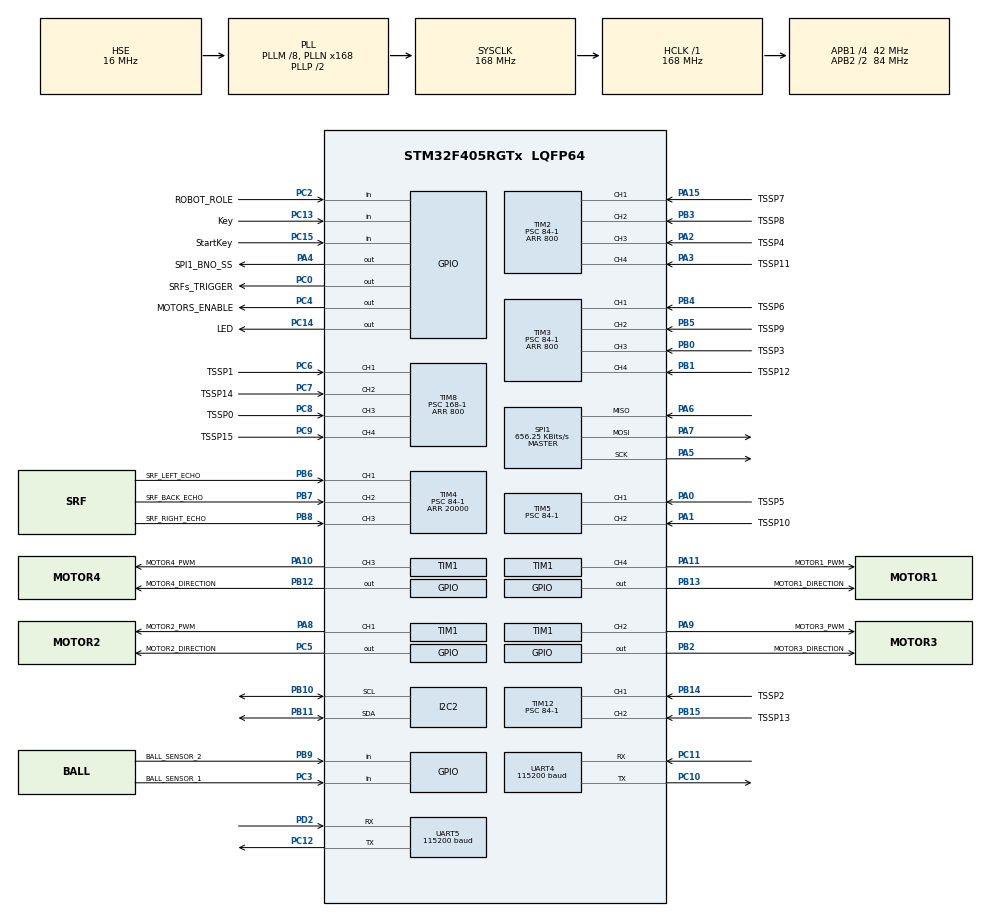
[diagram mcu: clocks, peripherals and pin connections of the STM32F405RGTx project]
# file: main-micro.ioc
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Dma.Request0=UART5_RX
Dma.Request1=UART4_TX
Dma.UART4_TX.1.Direction=DMA_MEMORY_TO_PERIPH
Dma.UART4_TX.1.FIFOMode=DMA_FIFOMODE_DISABLE
Dma.UART4_TX.1.Instance=DMA1_Stream4
Dma.UART4_TX.1.MemDataAlignment=DMA_MDATAALIGN_BYTE
Dma.UART4_TX.1.MemInc=DMA_MINC_ENABLE
Dma.UART4_TX.1.Mode=DMA_NORMAL
Dma.UART4_TX.1.PeriphDataAlignment=DMA_PDATAALIGN_BYTE
Dma.UART4_TX.1.PeriphInc=DMA_PINC_DISABLE
Dma.UART4_TX.1.Priority=DMA_PRIORITY_LOW
Dma.UART5_RX.0.Direction=DMA_PERIPH_TO_MEMORY
Dma.UART5_RX.0.FIFOMode=DMA_FIFOMODE_DISABLE
Dma.UART5_RX.0.Instance=DMA1_Stream0
Dma.UART5_RX.0.MemDataAlignment=DMA_MDATAALIGN_BYTE
Dma.UART5_RX.0.MemInc=DMA_MINC_ENABLE
Dma.UART5_RX.0.Mode=DMA_CIRCULAR
Dma.UART5_RX.0.PeriphDataAlignment=DMA_PDATAALIGN_BYTE
Dma.UART5_RX.0.PeriphInc=DMA_PINC_DISABLE
Dma.UART5_RX.0.Priority=DMA_PRIORITY_LOW
I2C2.I2C_Mode=I2C_Standard
Mcu.Family=STM32F4
Mcu.Name=STM32F405RGTx
Mcu.Package=LQFP64
NVIC.DMA1_Stream0_IRQn=true\:0\:0\:false\:false\:true\:false\:true\:true
NVIC.DMA1_Stream4_IRQn=true\:0\:0\:false\:false\:true\:false\:true\:true
NVIC.PriorityGroup=NVIC_PRIORITYGROUP_4
NVIC.TIM2_IRQn=true\:0\:0\:false\:false\:true\:true\:true\:true
NVIC.TIM3_IRQn=true\:0\:0\:false\:false\:true\:true\:true\:true
NVIC.TIM4_IRQn=true\:0\:0\:false\:false\:true\:true\:true\:true
NVIC.TIM5_IRQn=true\:0\:0\:false\:false\:true\:true\:true\:true
NVIC.TIM7_IRQn=true\:0\:0\:false\:false\:true\:true\:true\:true
NVIC.TIM8_BRK_TIM12_IRQn=true\:0\:0\:false\:false\:true\:true\:true\:true
NVIC.TIM8_CC_IRQn=true\:0\:0\:false\:false\:true\:true\:true\:true
NVIC.TIM8_UP_TIM13_IRQn=true\:0\:0\:false\:false\:true\:true\:true\:true
NVIC.UART4_IRQn=true\:0\:0\:false\:false\:true\:true\:true\:true
NVIC.UART5_IRQn=true\:0\:0\:false\:false\:true\:true\:true\:true
PA0-WKUP.GPIO_Label=TSSP5
PA0-WKUP.Signal=S_TIM5_CH1
PA1.GPIO_Label=TSSP10
PA1.Signal=S_TIM5_CH2
PA10.GPIO_Label=MOTOR4_PWM
PA10.Signal=S_TIM1_CH3
PA11.GPIO_Label=MOTOR1_PWM
PA11.Signal=S_TIM1_CH4
PA13.Mode=Serial_Wire
PA13.Signal=SYS_JTMS-SWDIO
PA14.Mode=Serial_Wire
PA14.Signal=SYS_JTCK-SWCLK
PA15.GPIO_Label=TSSP7
PA15.Signal=S_TIM2_CH1_ETR
PA2.GPIO_Label=TSSP4
PA2.Signal=S_TIM2_CH3
PA3.GPIO_Label=TSSP11
PA3.Signal=S_TIM2_CH4
PA4.GPIO_Label=SPI1_BNO_SS
PA4.Signal=GPIO_Output
PA5.Mode=Full_Duplex_Master
PA5.Signal=SPI1_SCK
PA6.Mode=Full_Duplex_Master
PA6.Signal=SPI1_MISO
PA7.Mode=Full_Duplex_Master
PA7.Signal=SPI1_MOSI
PA8.GPIO_Label=MOTOR2_PWM
PA8.Signal=S_TIM1_CH1
PA9.GPIO_Label=MOTOR3_PWM
PA9.Signal=S_TIM1_CH2
PB0.GPIO_Label=TSSP3
PB0.Signal=S_TIM3_CH3
PB1.GPIO_Label=TSSP12
PB1.Signal=S_TIM3_CH4
PB10.Mode=I2C
PB10.Signal=I2C2_SCL
PB11.Mode=I2C
PB11.Signal=I2C2_SDA
PB12.GPIO_Label=MOTOR4_DIRECTION
PB12.Signal=GPIO_Output
PB13.GPIO_Label=MOTOR1_DIRECTION
PB13.Signal=GPIO_Output
PB14.GPIO_Label=TSSP2
PB14.Signal=S_TIM12_CH1
PB15.GPIO_Label=TSSP13
PB15.Signal=S_TIM12_CH2
PB2.GPIO_Label=MOTOR3_DIRECTION
PB2.Signal=GPIO_Output
PB3.GPIO_Label=TSSP8
PB3.Signal=S_TIM2_CH2
PB4.GPIO_Label=TSSP6
PB4.Signal=S_TIM3_CH1
PB5.GPIO_Label=TSSP9
PB5.Signal=S_TIM3_CH2
PB6.GPIO_Label=SRF_LEFT_ECHO
PB6.Signal=S_TIM4_CH1
PB7.GPIO_Label=SRF_BACK_ECHO
PB7.Signal=S_TIM4_CH2
PB8.GPIO_Label=SRF_RIGHT_ECHO
PB8.Signal=S_TIM4_CH3
PB9.GPIO_Label=BALL_SENSOR_2
PB9.GPIO_PuPd=GPIO_PULLDOWN
PB9.Signal=GPIO_Input
PC0.GPIO_Label=SRFs_TRIGGER
PC0.Signal=GPIO_Output
PC10.Mode=Asynchronous
PC10.Signal=UART4_TX
PC11.Mode=Asynchronous
PC11.Signal=UART4_RX
PC12.Mode=Asynchronous
PC12.Signal=UART5_TX
PC13-ANTI_TAMP.GPIO_Label=Key
PC13-ANTI_TAMP.Signal=GPIO_Input
PC14-OSC32_IN.GPIO_Label=LED
PC14-OSC32_IN.Signal=GPIO_Output
PC15-OSC32_OUT.GPIO_Label=StartKey
PC15-OSC32_OUT.Signal=GPIO_Input
PC2.GPIO_Label=ROBOT_ROLE
PC2.Signal=GPIO_Input
PC3.GPIO_Label=BALL_SENSOR_1
PC3.GPIO_PuPd=GPIO_PULLDOWN
PC3.Signal=GPIO_Input
PC4.GPIO_Label=MOTORS_ENABLE
PC4.Signal=GPIO_Output
PC5.GPIO_Label=MOTOR2_DIRECTION
PC5.Signal=GPIO_Output
PC6.GPIO_Label=TSSP1
PC6.Signal=S_TIM8_CH1
PC7.GPIO_Label=TSSP14
PC7.Signal=S_TIM8_CH2
PC8.GPIO_Label=TSSP0
PC8.Signal=S_TIM8_CH3
PC9.GPIO_Label=TSSP15
PC9.Signal=S_TIM8_CH4
PD2.Mode=Asynchronous
PD2.Signal=UART5_RX
PH0-OSC_IN.Mode=HSE-External-Oscillator
PH0-OSC_IN.Signal=RCC_OSC_IN
PH1-OSC_OUT.Mode=HSE-External-Oscillator
PH1-OSC_OUT.Signal=RCC_OSC_OUT
ProjectManager.HeapSize=0x200
ProjectManager.StackSize=0x400
ProjectManager.TargetToolchain=Makefile
RCC.48MHZClocksFreq_Value=84000000
RCC.AHBFreq_Value=168000000
RCC.APB1CLKDivider=RCC_HCLK_DIV4
RCC.APB1Freq_Value=42000000
RCC.APB1TimFreq_Value=84000000
RCC.APB2CLKDivider=RCC_HCLK_DIV2
RCC.APB2Freq_Value=84000000
RCC.APB2TimFreq_Value=168000000
RCC.CortexFreq_Value=168000000
RCC.EnbaleCSS=true
RCC.HCLKFreq_Value=168000000
RCC.HSE_VALUE=16000000
RCC.HSI_VALUE=16000000
RCC.LSE_VALUE=32768
RCC.PLLM=8
RCC.PLLN=168
RCC.PLLSourceVirtual=RCC_PLLSOURCE_HSE
RCC.SYSCLKFreq_VALUE=168000000
RCC.SYSCLKSource=RCC_SYSCLKSOURCE_PLLCLK
RCC.VCOOutputFreq_Value=336000000
SH.S_TIM12_CH1.0=TIM12_CH1,Input_Capture1_from_TI1
SH.S_TIM12_CH2.0=TIM12_CH2,Input_Capture2_from_TI2
SH.S_TIM1_CH1.0=TIM1_CH1,PWM Generation1 CH1
SH.S_TIM1_CH2.0=TIM1_CH2,PWM Generation2 CH2
SH.S_TIM1_CH3.0=TIM1_CH3,PWM Generation3 CH3
SH.S_TIM1_CH4.0=TIM1_CH4,PWM Generation4 CH4
SH.S_TIM2_CH1_ETR.0=TIM2_CH1,Input_Capture1_from_TI1
SH.S_TIM2_CH2.0=TIM2_CH2,Input_Capture2_from_TI2
SH.S_TIM2_CH3.0=TIM2_CH3,Input_Capture3_from_TI3
SH.S_TIM2_CH4.0=TIM2_CH4,Input_Capture4_from_TI4
SH.S_TIM3_CH1.0=TIM3_CH1,Input_Capture1_from_TI1
SH.S_TIM3_CH2.0=TIM3_CH2,Input_Capture2_from_TI2
SH.S_TIM3_CH3.0=TIM3_CH3,Input_Capture3_from_TI3
SH.S_TIM3_CH4.0=TIM3_CH4,Input_Capture4_from_TI4
SH.S_TIM4_CH1.0=TIM4_CH1,Input_Capture1_from_TI1
SH.S_TIM4_CH2.0=TIM4_CH2,Input_Capture2_from_TI2
SH.S_TIM4_CH3.0=TIM4_CH3,Input_Capture3_from_TI3
SH.S_TIM5_CH1.0=TIM5_CH1,Input_Capture1_from_TI1
SH.S_TIM5_CH2.0=TIM5_CH2,Input_Capture2_from_TI2
SH.S_TIM8_CH1.0=TIM8_CH1,Input_Capture1_from_TI1
SH.S_TIM8_CH2.0=TIM8_CH2,Input_Capture2_from_TI2
SH.S_TIM8_CH3.0=TIM8_CH3,Input_Capture3_from_TI3
SH.S_TIM8_CH4.0=TIM8_CH4,Input_Capture4_from_TI4
SPI1.BaudRatePrescaler=SPI_BAUDRATEPRESCALER_128
SPI1.CalculateBaudRate=656.25 KBits/s
SPI1.Direction=SPI_DIRECTION_2LINES
SPI1.Mode=SPI_MODE_MASTER
SPI1.VirtualType=VM_MASTER
TIM1.Channel-PWM\ Generation1\ CH1=TIM_CHANNEL_1
TIM1.Channel-PWM\ Generation2\ CH2=TIM_CHANNEL_2
TIM1.Channel-PWM\ Generation3\ CH3=TIM_CHANNEL_3
TIM1.Channel-PWM\ Generation4\ CH4=TIM_CHANNEL_4
TIM1.Period=2800
TIM12.Channel-Input_Capture1_from_TI1=TIM_CHANNEL_1
TIM12.Channel-Input_Capture2_from_TI2=TIM_CHANNEL_2
TIM12.Period=800
TIM12.Prescaler=84-1
TIM13.Period=800
TIM13.Prescaler=84-1
TIM2.Channel-Input_Capture1_from_TI1=TIM_CHANNEL_1
TIM2.Channel-Input_Capture2_from_TI2=TIM_CHANNEL_2
TIM2.Channel-Input_Capture3_from_TI3=TIM_CHANNEL_3
TIM2.Channel-Input_Capture4_from_TI4=TIM_CHANNEL_4
TIM2.Period=800
TIM2.Prescaler=84-1
TIM3.Channel-Input_Capture1_from_TI1=TIM_CHANNEL_1
TIM3.Channel-Input_Capture2_from_TI2=TIM_CHANNEL_2
TIM3.Channel-Input_Capture3_from_TI3=TIM_CHANNEL_3
TIM3.Channel-Input_Capture4_from_TI4=TIM_CHANNEL_4
TIM3.Period=800
TIM3.Prescaler=84-1
TIM4.Channel-Input_Capture1_from_TI1=TIM_CHANNEL_1
TIM4.Channel-Input_Capture2_from_TI2=TIM_CHANNEL_2
TIM4.Channel-Input_Capture3_from_TI3=TIM_CHANNEL_3
TIM4.Period=20000
TIM4.Prescaler=84-1
TIM5.Channel-Input_Capture1_from_TI1=TIM_CHANNEL_1
TIM5.Channel-Input_Capture2_from_TI2=TIM_CHANNEL_2
TIM5.Period=800
TIM5.Prescaler=84-1
TIM7.Period=999
TIM7.Prescaler=84-1
TIM8.Channel-Input_Capture1_from_TI1=TIM_CHANNEL_1
TIM8.Channel-Input_Capture2_from_TI2=TIM_CHANNEL_2
TIM8.Channel-Input_Capture3_from_TI3=TIM_CHANNEL_3
TIM8.Channel-Input_Capture4_from_TI4=TIM_CHANNEL_4
TIM8.Period=800
TIM8.Prescaler=168-1
UART4.BaudRate=115200
UART4.VirtualMode=Asynchronous
UART5.BaudRate=115200
UART5.VirtualMode=Asynchronous
VP_TIM12_VS_ClockSourceINT.Mode=Internal
VP_TIM13_VS_ClockSourceINT.Mode=Enable_Timer
VP_TIM1_VS_ClockSourceINT.Mode=Internal
VP_TIM2_VS_ClockSourceINT.Mode=Internal
VP_TIM3_VS_ClockSourceINT.Mode=Internal
VP_TIM4_VS_ClockSourceINT.Mode=Internal
VP_TIM5_VS_ClockSourceINT.Mode=Internal
VP_TIM7_VS_ClockSourceINT.Mode=Enable_Timer
VP_TIM8_VS_ClockSourceINT.Mode=Internal
board=custom

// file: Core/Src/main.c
/* USER CODE BEGIN Header */
/**
 ******************************************************************************
 * @file           : main.c
 * @brief          : Main program body
 ******************************************************************************
 * @attention
 *
 * Copyright (c) 2023 STMicroelectronics.
 * All rights reserved.
 *
 * This software is licensed under terms that can be found in the LICENSE file
 * in the root directory of this software component.
 * If no LICENSE file comes with this software, it is provided AS-IS.
 *
 ******************************************************************************
 */
/* USER CODE END Header */
#include "main.h"
#include "dma.h"
#include "i2c.h"
#include "spi.h"
#include "tim.h"
#include "usart.h"
#include "gpio.h"

/* USER CODE BEGIN Includes */
#include <stdio.h>
#include <string.h>
#include <stdbool.h>
#include <stdlib.h>

#include "keys.h"
#include "robot_movement.h"
#include "tssp_helper.h"
#include "line_sensor.h"
#include "helpers.h"
#include "camera.h"
#include "srf_helper.h"
#include "attacker_strategy.h"
#include "goal_keeper_strategy.h"
#include "robot_connection.h"
/* USER CODE END Includes */

/* USER CODE BEGIN PD */
#define MAXON_MOTORS
/* USER CODE END PD */

/* USER CODE BEGIN PV */
volatile TSSP sensors[16];
volatile SRF left_srf, right_srf, back_srf;
volatile BALL ball;
GOAL goal;
Robot robot;
SECOND_ROBOT second_robot;
uint16_t width_temp[16][AVERAGE_DATA_NUMBER] = {0}; //? This array use for avarage filter from pulses
uint8_t tx_buff[100];                               //? Data to send with uart
bool line_sensors[20] = {0};                        //? NJL sensors status that sees the line(1) or not(0)

uint8_t openmv_data[OPENMV_DATA_LENGTH] = {0};
uint8_t second_robot_pocket[POCKET_LENGTH] = {0};

float AyFilt = 0;
float I_sigma = 0;
float last_error_line = 0;

float pidout_line = 0;
int X_srf = 90;
float Y_srf = 50;
uint8_t TrueSRF = 0;

uint16_t Y_timer = 0;

uint16_t go_ahead_flag = 0;
//******************************************

volatile SRF left_srf, right_srf, back_srf;

extern float average_x;
extern float average_y;

//* Tasks *//
volatile uint16_t Task1ms = 0, Task4ms = 0, Task10ms = 0, Task25ms = 0, Task30ms = 0, Task50ms = 0, Task250ms = 0;
/* USER CODE END PV */

void SystemClock_Config(void);

int main(void)
{

  /* MCU Configuration--------------------------------------------------------*/

  /* Reset of all peripherals, Initializes the Flash interface and the Systick. */
  HAL_Init();

  /* Configure the system clock */
  SystemClock_Config();

  /* Initialize all configured peripherals */
  MX_GPIO_Init();
  MX_DMA_Init();
  MX_I2C2_Init();
  MX_UART4_Init();
  MX_TIM1_Init();
  MX_TIM2_Init();
  MX_TIM3_Init();
  MX_TIM5_Init();
  MX_TIM8_Init();
  MX_TIM12_Init();
  MX_TIM4_Init();
  MX_TIM7_Init();
  MX_UART5_Init();
  MX_SPI1_Init();
  MX_TIM13_Init();
  /* USER CODE BEGIN 2 */
  // robot.role = attacker;
  robot.role = goal_keeper;
  robot.started = false;

  HAL_UART_Receive_DMA(&huart5, openmv_data, OPENMV_DATA_LENGTH);    //? Openmv camera
  HAL_UART_Receive_DMA(&huart4, second_robot_pocket, POCKET_LENGTH); //? Robots connection

  LL_mDelay(100);
  MPU6050_Init();
  LL_mDelay(100);
  MPU6050_Calibration();
  start_timers();
  LL_mDelay(100); //! Wait for BNO055 to be ready(Boot time)
  /* USER CODE END 2 */

  /* Infinite loop */
  /* USER CODE BEGIN WHILE */
  TurnOnLED();
  MOTORS_DISABLE();

  //! Wait to start the task
  while (1)
  {
    if (START_KEY_STATUS())
    {
      LL_mDelay(5);
      while (START_KEY_STATUS())
      {
        TurnOnLED();
      }
      TurnOffLED();
      break;
    }
  }
  robot.started = true;
  MOTORS_ENABLE();

  while (1)
  {
    uart_error_handler(); //? Error handler for uart dma(openmv)

    measure_ball_data(sensors, &ball);
    if (robot.role == attacker)
    {
      get_ball(&ball);
    }

    if (CAPTURED_BALL_STATUS())
    {
      robot.captured_ball = true;
      robot.captured_ball_time = 0;
    }
    else if (robot.captured_ball_time > CAPTURE_BALL_TIMEOUT)
    {
      robot.captured_ball = false;
    }

    //* Out code
    update_out_data();

    //? Update robot movement
    if (robot.role == attacker)
    {
      if (!robot.line_detect && (!robot.in_out_area || abs(robot.out_angle - robot.get_ball_move_angle) > 45))
      {
        robot.in_out_area = false;
        // robot.move_angle = robot.get_ball_move_angle;
        if (robot.captured_ball)
        {
          robot.move_angle = -goal.width * 0.45; //? Change move angle with goal location
        }
        else
        {
          robot.move_angle = robot.get_ball_move_angle;
        }

        robot.percent_speed = robot.get_ball_percent_speed;
      }
    }

    if (Task1ms > 0)
    {
      update_robot_angle();

      Task1ms -= 1;
    }

    if (Task4ms > 3)
    {
      //? Head PID
      update_robot_head_pid();

      if (!robot.must_brake)
      {
        robot_move(robot.move_angle, robot.percent_speed);
      }
      else
      {
        robot_brake(25);
      }

      if (robot.role == attacker)
      {
        attacker_strategy();
      }
      // else
      // {
      //   goal_keeper_strategy();
      // }

      Task4ms -= 4;
    }

    if (Task10ms > 9)
    {
      if (robot.role == goal_keeper)
      {
        // ################################### Line PID
        //! Must call every 10ms
        if (robot.on_line_sensors > 0)
        {
          // AyFilt = (AyFilt * 0.9) + (average_y * 0.1);
          AyFilt = (AyFilt * 0.9) + (average_y * 0.1) + 0.025;
          I_sigma += AyFilt;

          if (I_sigma > 100)
          {
            I_sigma = 100;
          }
          else if (I_sigma < -100)
          {
            I_sigma = -100;
          }
          if (fabs(AyFilt) < 0.05)
          {
            I_sigma = 0;
          }

          pidout_line = LINE_KP * AyFilt + I_sigma * LINE_KI + (AyFilt - last_error_line) * LINE_KD;
          last_error_line = AyFilt;
          if (pidout_line > 1)
          {
            pidout_line = 1;
          }
          if (pidout_line < -1)
          {
            pidout_line = -1;
          }
        }

        float MoveSpeed = 0;
        float MoveAngle = 0;

        //? False flag
        // if (ball.angle > 45 || ball.angle < -45 || ball.distance < 15)
        // {
        // 	go_ahead_flag = false;
        // }

        if ((ball.angle > 330 || ball.angle < 30) && ball.distance > 10 && Y_srf < 50)
        {
          MoveAngle = 0;
          MoveSpeed = 1;
        }
        else if (X_srf > RIGHT_GOAL_POS || X_srf < LEFT_GOAL_POS || Y_srf > (PENALTY_LINE_POS + 15) || (Y_srf < PENALTY_LINE_POS - 6))
        {
          MoveSpeed = GO_TO_PENALTY_SPEED;
          if (Y_srf < PENALTY_LINE_POS - 5)
          {
            MoveAngle = 0;
            pidout_line = 1;
            // MoveSpeed = 0.5;
          }
          else
          {
            MoveAngle = 180 - atan2f((X_srf - 91), (Y_srf - PENALTY_LINE_POS)) * RADIAN_TO_DEGREE;
          }
        }

        else
        {
          //? True flag
          // else if (ball.angle < 45 && ball.angle > -45 && ball.distance > 15 && !go_ahead_flag)
          // go_ahead_flag = true;
          // // Y_srf = 0;
          // Y_timer = 0;

          // ################################### Ball PID
          int16_t BallAngle = ball.angle;
          BallAngle *= -1;
          BallAngle += 450;
          while (BallAngle > 360)
          {
            BallAngle -= 360;
          }

          float ball_error = 0;
          if (ball.distance > 0)
          {
            // ball_error = cos(BallAngle * DEGREE_TO_RADIAN);
            ball_error = cosf(BallAngle * DEGREE_TO_RADIAN);
          }
          float pidout_ball = BALL_KP * ball_error;
          if (pidout_ball > 1)
          {
            pidout_ball = 1;
          }
          if (pidout_ball < -1)
          {
            pidout_ball = -1;
          }

          // ################################### Set Percent Speed
          MoveSpeed = ((fabs(pidout_ball * ball_error)) + (fabs(pidout_line * AyFilt))) / (fabs(ball_error) + fabs(AyFilt));

          // ################################### Set Move Angle
          if (fabs(ball_error) < 0.05 || robot.green_time > 200)
          {
            if (pidout_line > 0)
            {
              MoveAngle = 0;
            }
            else if (pidout_line < 0)
            {
              MoveAngle = -180;
            }
          }
          else
          {
            MoveAngle = atan2f(pidout_line, ball_error) * RADIAN_TO_DEGREE;

            MoveAngle -= 90;
          }

          if (MoveAngle < -180)
          {
            MoveAngle += 360;
          }
          else if (MoveAngle > 180)
          {
            MoveAngle -= 360;
          }

          if (X_srf > RIGHT_GOAL_POS - 2 && MoveAngle < 0)
            MoveSpeed = 0;
          if (X_srf < LEFT_GOAL_POS + 2 && MoveAngle > 0)
            MoveSpeed = 0;
        }

        if (MoveSpeed > 1)
        {
          MoveSpeed = 1;
        }
        else if (MoveSpeed < 0)
        {
          MoveSpeed = 0;
        }

        robot.percent_speed = MoveSpeed;
        robot.move_angle = MoveAngle;
      }

      Task10ms -= 10;
    }

    if (Task30ms > 29)
    {
      update_srf_data();
      Task30ms -= 30;
    }

    if (Task50ms > 49)
    {
      if (robot.captured_ball)
      {
        TurnOnLED();
      }
      else
      {
        TurnOffLED();
      }

      Task50ms -= 50;
    }

    if (Task250ms > 249) //? This task is for connection of the robots
    {
      //? Send pocket to second robot
      sprintf(tx_buff, "%c%03d", robot.role == attacker ? 'A' : 'G', ball.distance);
      SEND_BUFFER();

      //? Change task
      if (!second_robot.exist)
      {
        robot.role = attacker;
      }
      else if (robot.role == second_robot.role)
      {
        robot.role = (ball.distance > second_robot.ball_distance) ? goal_keeper : attacker;
      }

      // sprintf(tx_buff, "H: %d    W: %d    D: %d\n", goal.height, goal.width, goal.detection);
      // SEND_BUFFER();

      Task250ms -= 250;
    }
    /* USER CODE END WHILE */

  }
}

void SystemClock_Config(void)
{
  RCC_OscInitTypeDef RCC_OscInitStruct = {0};
  RCC_ClkInitTypeDef RCC_ClkInitStruct = {0};

  /** Configure the main internal regulator output voltage
   */
  __HAL_RCC_PWR_CLK_ENABLE();
  __HAL_PWR_VOLTAGESCALING_CONFIG(PWR_REGULATOR_VOLTAGE_SCALE1);

  /** Initializes the RCC Oscillators according to the specified parameters
   * in the RCC_OscInitTypeDef structure.
   */
  RCC_OscInitStruct.OscillatorType = RCC_OSCILLATORTYPE_HSE;
  RCC_OscInitStruct.HSEState = RCC_HSE_ON;
  RCC_OscInitStruct.PLL.PLLState = RCC_PLL_ON;
  RCC_OscInitStruct.PLL.PLLSource = RCC_PLLSOURCE_HSE;
  RCC_OscInitStruct.PLL.PLLM = 8;
  RCC_OscInitStruct.PLL.PLLN = 168;
  RCC_OscInitStruct.PLL.PLLP = RCC_PLLP_DIV2;
  RCC_OscInitStruct.PLL.PLLQ = 4;
  if (HAL_RCC_OscConfig(&RCC_OscInitStruct) != HAL_OK)
  {
    Error_Handler();
  }

  /** Initializes the CPU, AHB and APB buses clocks
   */
  RCC_ClkInitStruct.ClockType = RCC_CLOCKTYPE_HCLK | RCC_CLOCKTYPE_SYSCLK | RCC_CLOCKTYPE_PCLK1 | RCC_CLOCKTYPE_PCLK2;
  RCC_ClkInitStruct.SYSCLKSource = RCC_SYSCLKSOURCE_PLLCLK;
  RCC_ClkInitStruct.AHBCLKDivider = RCC_SYSCLK_DIV1;
  RCC_ClkInitStruct.APB1CLKDivider = RCC_HCLK_DIV4;
  RCC_ClkInitStruct.APB2CLKDivider = RCC_HCLK_DIV2;

  if (HAL_RCC_ClockConfig(&RCC_ClkInitStruct, FLASH_LATENCY_5) != HAL_OK)
  {
    Error_Handler();
  }

  /** Enables the Clock Security System
   */
  HAL_RCC_EnableCSS();
}

/* USER CODE BEGIN 4 */
void HAL_UART_RxCpltCallback(UART_HandleTypeDef *huart)
{
  if (huart->Instance == UART5)
  {
    robot.camera_refresh_time = 0;
    if (robot.role == attacker && robot.camera_connection)
    {
      read_openmv();
    }
  }
  else if (huart->Instance == UART4)
  {
    second_robot.refresh_time = 0;
    read_second_robot_pocket();
  }
}
/* USER CODE END 4 */

void Error_Handler(void)
{
  __disable_irq();
  while (1)
  {
  }
}
